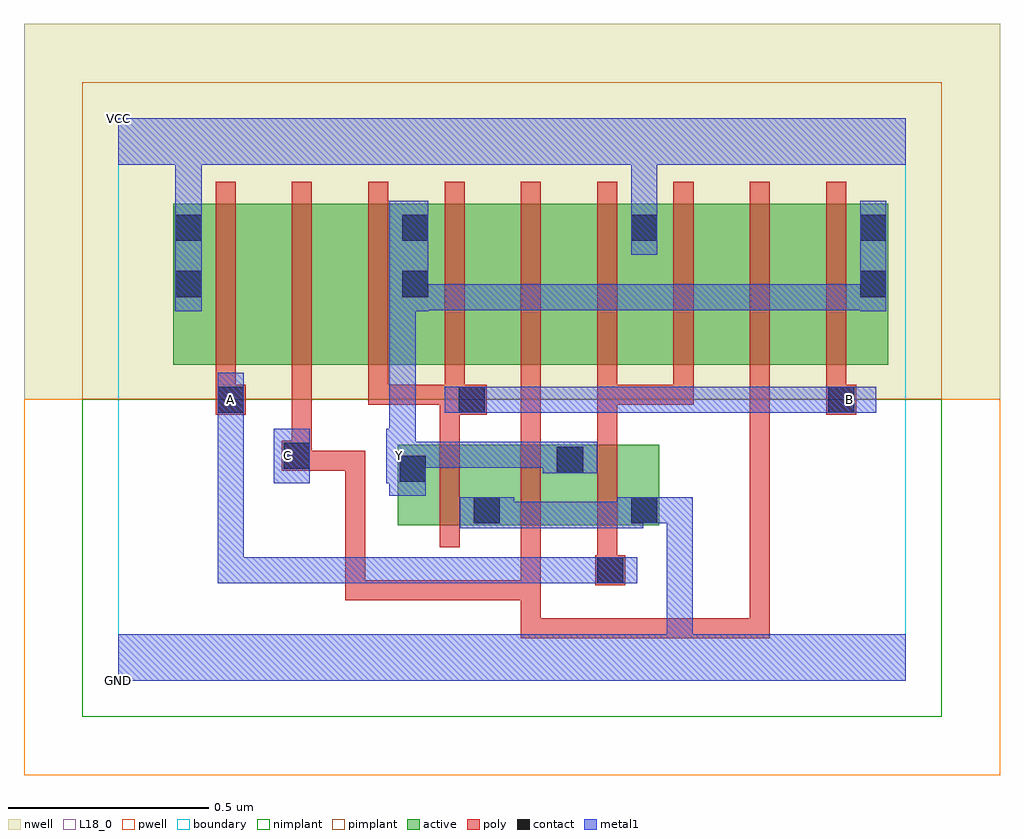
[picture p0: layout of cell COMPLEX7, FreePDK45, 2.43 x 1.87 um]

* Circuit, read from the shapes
.subckt COMPLEX7 A B C GND VCC Y
M1 GND B Y VSUBS nfet w=0.2u l=0.05u
M2 Y C GND VSUBS nfet w=0.2u l=0.05u
M3 GND A Y VSUBS nfet w=0.2u l=0.05u
M4 n1 A VCC n2 pfet w=0.4u l=0.05u
M5 n3 C n1 n2 pfet w=0.4u l=0.05u
M6 Y B n3 n2 pfet w=0.4u l=0.05u
M7 n4 B Y n2 pfet w=0.4u l=0.05u
M8 n5 C n4 n2 pfet w=0.4u l=0.05u
M9 VCC A n5 n2 pfet w=0.4u l=0.05u
M10 n6 A VCC n2 pfet w=0.4u l=0.05u
M11 n7 C n6 n2 pfet w=0.4u l=0.05u
M12 Y B n7 n2 pfet w=0.4u l=0.05u
.ends

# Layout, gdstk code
import gdstk
lib = gdstk.Library(unit=1e-6, precision=1e-09)
def R(c, l, rs):  # rectangles x0, y0, x1, y1
    for r in rs: c.add(gdstk.rectangle(r[:2], r[2:], *l))
def A(c, l, x, y, w, h, nx, ny, dx, dy):  # array of equal rectangles
    R(c, l, [(x+i*dx, y+j*dy, x+i*dx+w, y+j*dy+h) for i in range(nx) for j in range(ny)])
active = (1, 0)
pwell = (2, 0)
nwell = (3, 0)
nimplant = (4, 0)
pimplant = (5, 0)
poly = (9, 0)
contact = (10, 0)
metal1 = (11, 0)
L18_0 = (18, 0)
boundary = (235, 0)

complex7 = lib.new_cell('COMPLEX7')
A(complex7, active, 0.362, 0.787, 0.19, 0.4, 3, 1, 0.57, 0)
A(complex7, active, 0.552, 0.787, 0.225, 0.4, 3, 1, 0.57, 0)
R(complex7, active, [(0.695,0.387,0.955,0.587), (0.88,0.387,0.955,0.587), (0.88,0.387,1.162,0.587), (1.087,0.387,1.347,0.587), (1.272,0.387,1.347,0.587), (0.695,0.445,0.77,0.587), (1.087,0.445,1.162,0.587), (0.137,0.787,0.212,1.165), (0.137,0.787,0.362,1.187), (0.702,0.787,0.932,1.187), (1.272,0.787,1.502,1.187), (1.842,0.787,1.917,1.165), (0.702,0.907,0.777,1.165), (1.272,0.907,1.347,1.187)])
R(complex7, pwell, [(-0.235,-0.235,2.195,0.7)])
R(complex7, nwell, [(-0.235,0.7,2.195,1.635)])
R(complex7, nimplant, [(-0.09,-0.09,2.05,0.7)])
R(complex7, pimplant, [(-0.09,0.7,2.05,1.49)])
A(complex7, poly, 0.242, 0.732, 0.05, 0.51, 9, 1, 0.19, 0)
R(complex7, poly, [(1.002,0.105,1.052,0.155), (1.002,0.105,1.052,0.155), (1.002,0.105,1.052,0.155), (1.002,0.105,1.052,0.25), (1.002,0.105,1.185,0.155), (1.135,0.105,1.185,0.155), (1.135,0.105,1.395,0.155), (1.345,0.105,1.395,0.155), (1.345,0.105,1.395,0.155), (1.345,0.105,1.395,0.155), (1.345,0.105,1.395,0.155), (1.345,0.105,1.395,0.155), (1.345,0.105,1.395,0.155), (1.345,0.105,1.395,0.155), (1.345,0.105,1.622,0.155), (1.572,0.105,1.622,0.782), (1.572,0.105,1.622,0.155), (1.572,0.105,1.622,0.155), (1.572,0.105,1.622,0.155), (1.572,0.105,1.622,0.155), (1.572,0.105,1.622,0.155), (1.572,0.105,1.622,0.155), (1.572,0.105,1.622,0.155), (0.565,0.2,0.615,0.25), (0.565,0.2,0.615,0.25), (0.565,0.2,0.615,0.25), (0.565,0.2,0.805,0.25), (0.565,0.2,0.615,0.572), (0.755,0.2,0.805,0.25), (0.755,0.2,0.805,0.25), (0.755,0.2,0.805,0.25), (0.755,0.2,1.052,0.25), (1.002,0.2,1.052,0.25), (1.002,0.2,1.052,0.382), (1.187,0.237,1.262,0.312), (1.192,0.262,1.242,0.382), (0.8,0.332,0.85,0.642), (1.002,0.332,1.052,0.642), (1.192,0.332,1.242,0.642), (0.407,0.522,0.482,0.597), (0.432,0.522,0.482,0.572), (0.432,0.522,0.482,0.572), (0.432,0.522,0.482,0.572), (0.432,0.522,0.482,0.572), (0.432,0.522,0.482,0.572), (0.432,0.522,0.482,0.572), (0.432,0.522,0.615,0.572), (0.565,0.522,0.615,0.572), (0.432,0.547,0.482,0.782), (0.8,0.592,0.85,0.712), (1.002,0.592,1.052,0.687), (1.192,0.592,1.242,0.737), (1.002,0.637,1.052,0.687), (1.002,0.637,1.052,0.782), (0.242,0.662,0.317,0.737), (0.8,0.662,0.917,0.737), (1.762,0.662,1.837,0.737), (0.242,0.687,0.292,0.782), (0.622,0.687,0.672,0.782), (0.622,0.687,0.672,0.737), (0.622,0.687,0.672,0.737), (0.622,0.687,0.672,0.737), (0.622,0.687,0.85,0.737), (0.812,0.687,0.862,0.782), (1.192,0.687,1.242,0.782), (1.192,0.687,1.242,0.737), (1.192,0.687,1.432,0.737), (1.382,0.687,1.432,0.782), (1.382,0.687,1.432,0.737), (1.382,0.687,1.432,0.737), (1.382,0.687,1.432,0.737), (1.762,0.687,1.812,0.782)])
A(complex7, contact, 0.707, 1.095, 0.065, 0.065, 3, 1, 0.57, 0)
R(complex7, contact, [(1.192,0.242,1.257,0.307), (0.885,0.392,0.95,0.457), (1.277,0.392,1.342,0.457), (0.7,0.495,0.765,0.56), (1.092,0.517,1.157,0.582), (0.412,0.527,0.477,0.592), (0.247,0.667,0.312,0.732), (0.847,0.667,0.912,0.732), (1.767,0.667,1.832,0.732), (0.142,0.955,0.207,1.02), (0.707,0.955,0.772,1.02), (1.847,0.955,1.912,1.02), (0.142,1.095,0.207,1.16)])
R(complex7, metal1, [(0,0,1.96,0.115), (1.365,0.05,1.43,0.457), (0.247,0.242,0.312,0.307), (0.247,0.242,0.502,0.307), (0.247,0.242,0.312,0.697), (0.437,0.242,0.502,0.307), (0.437,0.242,0.502,0.307), (0.437,0.242,0.502,0.307), (0.437,0.242,0.502,0.307), (0.437,0.242,0.502,0.307), (0.437,0.242,0.64,0.307), (0.575,0.242,0.64,0.307), (0.575,0.242,0.777,0.307), (0.712,0.242,0.777,0.307), (0.712,0.242,0.777,0.307), (0.712,0.242,0.777,0.307), (0.712,0.242,0.777,0.307), (0.712,0.242,0.777,0.307), (0.712,0.242,0.915,0.307), (0.85,0.242,0.915,0.307), (0.85,0.242,1.085,0.307), (1.02,0.242,1.085,0.307), (1.02,0.242,1.122,0.307), (1.057,0.242,1.122,0.307), (1.057,0.242,1.222,0.307), (1.157,0.242,1.292,0.307), (0.85,0.38,0.985,0.457), (0.92,0.38,1.085,0.445), (1.02,0.38,1.085,0.445), (1.02,0.38,1.17,0.445), (1.105,0.38,1.17,0.445), (1.105,0.38,1.307,0.445), (1.242,0.38,1.307,0.457), (1.242,0.392,1.307,0.457), (1.242,0.392,1.43,0.457), (1.365,0.392,1.43,0.457), (1.365,0.392,1.43,0.457), (1.365,0.392,1.43,0.457), (1.365,0.392,1.43,0.457), (1.365,0.392,1.43,0.457), (1.365,0.392,1.43,0.457), (0.675,0.46,0.765,0.595), (0.387,0.492,0.477,0.627), (0.667,0.492,0.74,0.627), (1.057,0.517,1.192,0.595), (0.675,0.53,0.74,0.595), (0.7,0.53,0.947,0.595), (0.882,0.53,0.947,0.595), (0.882,0.53,0.947,0.595), (0.882,0.53,0.947,0.595), (0.882,0.53,1.085,0.595), (1.02,0.53,1.085,0.595), (1.02,0.53,1.122,0.595), (0.675,0.562,0.74,0.985), (0.247,0.632,0.312,0.697), (0.247,0.632,0.312,0.697), (0.247,0.632,0.312,0.767), (0.812,0.667,0.947,0.732), (0.882,0.667,0.947,0.732), (0.882,0.667,0.947,0.732), (0.882,0.667,1.085,0.732), (1.02,0.667,1.085,0.732), (1.02,0.667,1.17,0.732), (1.105,0.667,1.17,0.732), (1.105,0.667,1.385,0.732), (1.32,0.667,1.385,0.732), (1.32,0.667,1.385,0.732), (1.32,0.667,1.385,0.732), (1.32,0.667,1.522,0.732), (1.457,0.667,1.522,0.732), (1.457,0.667,1.522,0.732), (1.457,0.667,1.522,0.732), (1.457,0.667,1.66,0.732), (1.595,0.667,1.66,0.732), (1.595,0.667,1.66,0.732), (1.595,0.667,1.66,0.732), (1.595,0.667,1.797,0.732), (1.732,0.667,1.887,0.732), (0.142,0.92,0.207,1.195), (0.675,0.92,0.772,1.195), (1.847,0.92,1.912,1.195), (0.707,0.922,0.93,0.987), (0.865,0.922,0.93,0.987), (0.865,0.922,0.93,0.987), (0.865,0.922,0.93,0.987), (0.865,0.922,1.085,0.987), (1.02,0.922,1.085,0.987), (1.02,0.922,1.122,0.987), (1.057,0.922,1.122,0.987), (1.057,0.922,1.307,0.987), (1.242,0.922,1.307,0.987), (1.242,0.922,1.307,0.987), (1.242,0.922,1.307,0.987), (1.242,0.922,1.522,0.987), (1.457,0.922,1.522,0.987), (1.457,0.922,1.522,0.987), (1.457,0.922,1.522,0.987), (1.457,0.922,1.66,0.987), (1.595,0.922,1.66,0.987), (1.595,0.922,1.66,0.987), (1.595,0.922,1.66,0.987), (1.595,0.922,1.912,0.987), (1.847,0.922,1.912,0.987), (1.847,0.922,1.912,0.987), (1.277,1.06,1.342,1.195), (0.142,1.13,0.207,1.35), (1.277,1.13,1.342,1.35), (0,1.285,1.96,1.4)])
R(complex7, L18_0, [(0,0,1.96,0.115), (1.365,0.05,1.43,0.457), (0.247,0.242,0.312,0.307), (0.247,0.242,0.312,0.697), (0.247,0.242,0.502,0.307), (0.437,0.242,0.502,0.307), (0.437,0.242,0.502,0.307), (0.437,0.242,0.502,0.307), (0.437,0.242,0.502,0.307), (0.437,0.242,0.502,0.307), (0.437,0.242,0.64,0.307), (0.575,0.242,0.64,0.307), (0.575,0.242,0.777,0.307), (0.712,0.242,0.777,0.307), (0.712,0.242,0.777,0.307), (0.712,0.242,0.777,0.307), (0.712,0.242,0.777,0.307), (0.712,0.242,0.777,0.307), (0.712,0.242,0.915,0.307), (0.85,0.242,0.915,0.307), (0.85,0.242,1.085,0.307), (1.02,0.242,1.085,0.307), (1.02,0.242,1.122,0.307), (1.057,0.242,1.122,0.307), (1.057,0.242,1.222,0.307), (1.157,0.242,1.292,0.307), (0.85,0.38,0.985,0.457), (0.92,0.38,1.085,0.445), (1.02,0.38,1.085,0.445), (1.02,0.38,1.17,0.445), (1.105,0.38,1.17,0.445), (1.105,0.38,1.307,0.445), (1.242,0.38,1.307,0.457), (1.242,0.392,1.307,0.457), (1.242,0.392,1.43,0.457), (1.365,0.392,1.43,0.457), (1.365,0.392,1.43,0.457), (1.365,0.392,1.43,0.457), (1.365,0.392,1.43,0.457), (1.365,0.392,1.43,0.457), (1.365,0.392,1.43,0.457), (0.675,0.46,0.765,0.595), (0.387,0.492,0.477,0.627), (0.667,0.492,0.74,0.627), (1.057,0.517,1.192,0.595), (0.387,0.527,0.452,0.592), (0.667,0.527,0.732,0.592), (0.675,0.53,0.74,0.595), (0.7,0.53,0.947,0.595), (0.882,0.53,0.947,0.595), (0.882,0.53,0.947,0.595), (0.882,0.53,0.947,0.595), (0.882,0.53,1.085,0.595), (1.02,0.53,1.085,0.595), (1.02,0.53,1.122,0.595), (0.675,0.562,0.74,0.985), (0.247,0.632,0.312,0.767), (0.247,0.632,0.312,0.697), (0.247,0.632,0.312,0.697), (0.247,0.667,0.312,0.732), (0.812,0.667,0.947,0.732), (0.882,0.667,0.947,0.732), (0.882,0.667,0.947,0.732), (0.882,0.667,1.085,0.732), (1.02,0.667,1.085,0.732), (1.02,0.667,1.17,0.732), (1.105,0.667,1.17,0.732), (1.105,0.667,1.385,0.732), (1.32,0.667,1.385,0.732), (1.32,0.667,1.385,0.732), (1.32,0.667,1.385,0.732), (1.32,0.667,1.522,0.732), (1.457,0.667,1.522,0.732), (1.457,0.667,1.522,0.732), (1.457,0.667,1.522,0.732), (1.457,0.667,1.66,0.732), (1.595,0.667,1.66,0.732), (1.595,0.667,1.66,0.732), (1.595,0.667,1.66,0.732), (1.595,0.667,1.797,0.732), (1.732,0.667,1.887,0.732), (1.787,0.667,1.852,0.732), (0.142,0.92,0.207,1.195), (0.675,0.92,0.772,1.195), (1.847,0.92,1.912,1.195), (0.707,0.922,0.93,0.987), (0.865,0.922,0.93,0.987), (0.865,0.922,0.93,0.987), (0.865,0.922,0.93,0.987), (0.865,0.922,1.085,0.987), (1.02,0.922,1.085,0.987), (1.02,0.922,1.122,0.987), (1.057,0.922,1.122,0.987), (1.057,0.922,1.307,0.987), (1.242,0.922,1.307,0.987), (1.242,0.922,1.307,0.987), (1.242,0.922,1.307,0.987), (1.242,0.922,1.522,0.987), (1.457,0.922,1.522,0.987), (1.457,0.922,1.522,0.987), (1.457,0.922,1.522,0.987), (1.457,0.922,1.66,0.987), (1.595,0.922,1.66,0.987), (1.595,0.922,1.66,0.987), (1.595,0.922,1.66,0.987), (1.595,0.922,1.912,0.987), (1.847,0.922,1.912,0.987), (1.847,0.922,1.912,0.987), (1.277,1.06,1.342,1.195), (0.142,1.13,0.207,1.35), (1.277,1.13,1.342,1.35), (0,1.285,1.96,1.4)])
R(complex7, boundary, [(0,0,1.96,1.4)])
complex7.add(gdstk.Label('A', (0.28,0.7), layer=11, texttype=0))
complex7.add(gdstk.Label('B', (1.82,0.7), layer=11, texttype=0))
complex7.add(gdstk.Label('C', (0.42,0.56), layer=11, texttype=0))
complex7.add(gdstk.Label('Y', (0.7,0.56), layer=11, texttype=0))
complex7.add(gdstk.Label('VCC', (0,1.4), layer=11, texttype=0))
complex7.add(gdstk.Label('GND', (0,0), layer=11, texttype=0))

lib.write_gds('COMPLEX7.gds')
